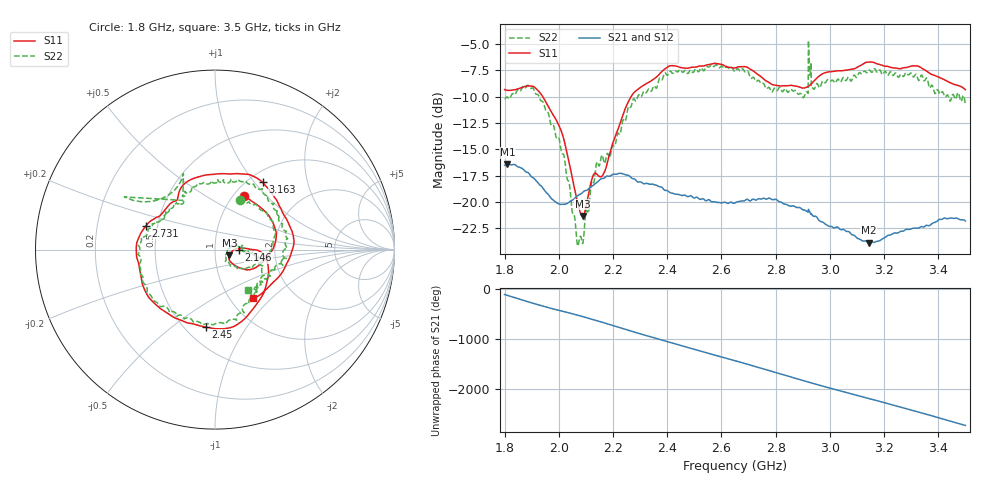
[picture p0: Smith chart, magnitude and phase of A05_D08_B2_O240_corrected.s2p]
! Created with skrf 1.9.0 (http://scikit-rf.org).
# Hz S RI R 50.0
!freq ReS11 ImS11 ReS21 ImS21 ReS12 ImS12 ReS22 ImS22
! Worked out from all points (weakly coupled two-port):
!   1601 points, 1.8 GHz to 3.5 GHz, reference 50 ohm
!   highest |S21| = -16.40 dB at 1.811 GHz (marker M1); lowest = -23.8 dB at 3.144 GHz (marker M2)
!   lowest |S11| = -21.3 dB at 2.088 GHz (marker M3), VSWR 1.19, Z = 58.6 - j3.68 ohm
!   |S11| at or under -10 dB: 1.941 GHz to 2.267 GHz (325.6 MHz wide, 15.5 % of centre)
!   |S22| runs from -24.2 to -4.7 dB; largest |S21 - S12| = 0.003
!   S11 on the Smith chart (normalised r, x): 1.8 GHz: 1.12, +0.76; 2.146 GHz: 1.31, -0.00; 2.45 GHz: 0.63, -0.67; 2.731 GHz: 0.43, +0.14; 3.163 GHz: 1.16, +1.10; 3.5 GHz: 1.27, -0.77
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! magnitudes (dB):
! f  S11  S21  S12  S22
! 1.8 GHz  -9.3  -16.5  -16.5  -10.2
! 1.811 GHz  -9.4  -16.4  -16.4  -10.0
! 1.887 GHz  -9.0  -17.2  -17.3  -8.9
! 1.942 GHz  -10.1  -18.7  -18.7  -10.5
! 2.011 GHz  -13.4  -20.2  -20.2  -15.4
! 2.067 GHz  -19.8  -19.4  -19.5  -23.8
! 2.084 GHz  -21.2  -19.2  -19.1  -23.5
! 2.088 GHz  -21.3  -19.1  -19.1  -23.9
! 2.125 GHz  -17.6  -18.4  -18.4  -18.1
! 2.146 GHz  -17.5  -18.0  -18.0  -16.5
! 2.266 GHz  -10.0  -17.7  -17.6  -10.9
! 2.367 GHz  -8.0  -18.5  -18.5  -8.6
! 2.45 GHz  -7.2  -19.3  -19.4  -7.5
! 2.65 GHz  -7.3  -20.1  -20.1  -7.6
! 2.731 GHz  -7.8  -19.8  -19.8  -8.5
! 2.901 GHz  -9.2  -20.7  -20.7  -10.1
! 2.922 GHz  -9.0  -20.7  -20.7  -5.5
! 2.934 GHz  -8.7  -21.2  -21.2  -9.1
! 3.144 GHz  -6.7  -23.8  -23.8  -7.5
! 3.163 GHz  -6.8  -23.8  -23.8  -7.4
! 3.217 GHz  -7.2  -23.1  -23.1  -7.9
! 3.5 GHz  -9.3  -21.8  -21.8  -10.7
